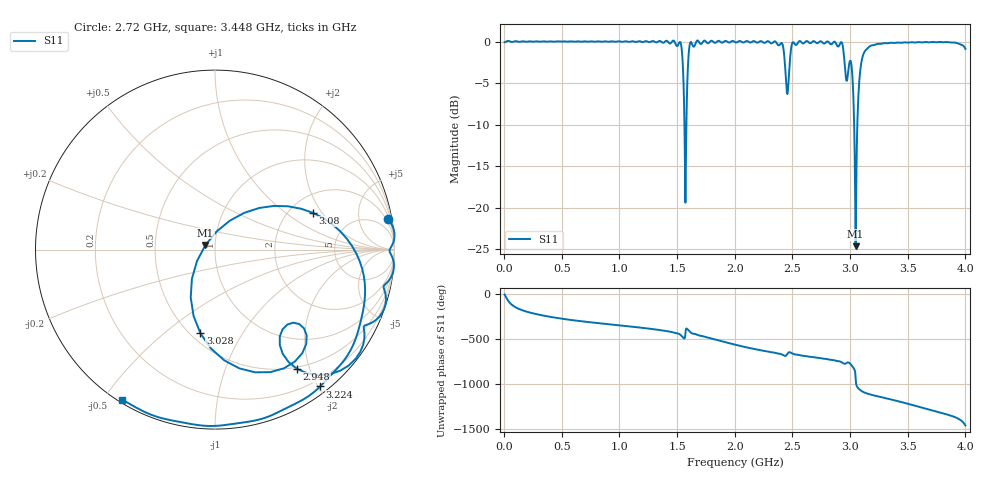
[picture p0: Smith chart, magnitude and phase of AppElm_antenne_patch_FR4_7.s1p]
! TOUCHSTONE file generated by CST MICROWAVE STUDIO
! Date and time: Tue Jun  7 22:11:18 2022
! Project name: AppElm_antenne_patch_FR4.cst
! Parameters = {L=45; W=58.5; e=0.035; h=1.6; lambda=0.190476; ls=120; w0=1.6; w1=0.5597; ws=120; y0=20; y1=23.81}
! Header version: 2018
! Port assignment regex: !\s*Touchstone port\s*([0-9]+)\s*=\s*(CST MWS port|CST DS port)\s*([0-9]+|Zmin|Zmax)\s*\(\"(.*)\"\)(\s*mode\s*([0-9]+))?.*
! Touchstone port assignment:
! Touchstone port 1 = CST MWS port 1 ("")
# GHz S MA R 50
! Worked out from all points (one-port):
!   1000 points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, 4 MHz to 4 GHz, reference 50 ohm
!   lowest |S11| = -24.6 dB at 3.048 GHz (marker M1), VSWR 1.13, Z = 44.9 + j2.3 ohm
!   |S11| at or under -10 dB: 1.564 GHz to 1.58 GHz (16.94 MHz wide, 1.08 % of centre); 3.035 GHz to 3.063 GHz (27.78 MHz wide, 0.911 % of centre)
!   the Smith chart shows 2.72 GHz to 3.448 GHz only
!   S11 on the Smith chart (normalised r, x): 2.72 GHz: 1, +11; 2.948 GHz: 0.48, -1.80; 3.028 GHz: 0.56, -0.67; 3.08 GHz: 2.65, +1.65; 3.224 GHz: 0.10, -2.03; 3.448 GHz: 0.01, -0.56
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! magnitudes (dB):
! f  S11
! 4 MHz  -0.1
! 504 MHz  0.0
! 1.004 GHz  0.0
! 1.504 GHz  -0.5
! 1.536 GHz  -0.5
! 1.56 GHz  -7.3
! 1.572 GHz  -19.4
! 1.588 GHz  -5.2
! 1.604 GHz  -0.9
! 1.62 GHz  -0.1
! 2.004 GHz  -0.1
! 2.4 GHz  -0.2
! 2.456 GHz  -6.3
! 2.504 GHz  -0.1
! 2.72 GHz  -0.2
! 2.92 GHz  -0.1
! 2.948 GHz  -1.9
! 3.004 GHz  -2.3
! 3.016 GHz  -3.4
! 3.028 GHz  -6.5
! 3.048 GHz  -24.6
! 3.064 GHz  -9.4
! 3.08 GHz  -4.7
! 3.12 GHz  -1.4
! 3.224 GHz  -0.3
! 3.448 GHz  -0.2
! 3.504 GHz  -0.1
! 4 GHz  -0.9
